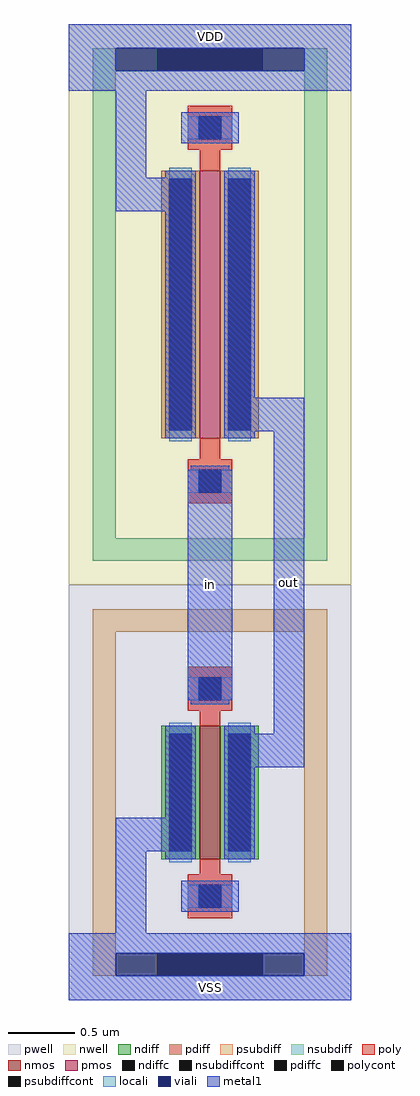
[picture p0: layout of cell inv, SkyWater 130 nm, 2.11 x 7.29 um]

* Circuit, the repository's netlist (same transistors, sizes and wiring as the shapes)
** sch_path: /home/bmott/standard_cell_library/xsch/ip/inv/inv.sch
.subckt inv in out VDD VSS
*.ipin in
*.opin out
*.iopin VDD
*.iopin VSS
XMN out in VSS VSS sky130_fd_pr__nfet_01v8 L=0.15 W=1 nf=1 ad=0.29 as=0.29 pd=2.58 ps=2.58 nrd=0.29 nrs=0.29 sa=0 sb=0 sd=0 mult=1
+ m=1
XMP out in VDD VDD sky130_fd_pr__pfet_01v8 L=0.15 W=2 nf=1 ad=0.58 as=0.58 pd=4.58 ps=4.58 nrd=0.145 nrs=0.145 sa=0 sb=0 sd=0
+ mult=1 m=1
**.ends
.end

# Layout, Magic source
magic
tech sky130A
magscale 1 2
<< viali >>
rect -290 1246 -8 1280
rect -290 -106 -8 -72
<< metal1 >>
rect -360 1280 62 1316
rect -360 1246 -290 1280
rect -8 1246 62 1280
rect -360 1216 62 1246
rect -290 1086 -244 1216
rect -192 1138 -106 1184
rect -290 1036 -176 1086
rect -210 708 -176 1036
rect -122 758 -88 1086
rect -122 708 -8 758
rect -182 306 -116 650
rect -54 256 -8 708
rect -210 130 -176 256
rect -290 80 -176 130
rect -122 206 -8 256
rect -122 80 -88 206
rect -290 -42 -244 80
rect -192 -10 -106 36
rect -360 -72 62 -42
rect -360 -106 -290 -72
rect -8 -106 62 -72
rect -360 -142 62 -106
use sky130_fd_pr__nfet_01v8_E5WSWT  XMN
transform 1 0 -149 0 1 168
box -211 -310 211 310
use sky130_fd_pr__pfet_01v8_ELW5X2  XMP
transform 1 0 -149 0 1 897
box -211 -419 211 419
<< labels >>
rlabel metal1 -182 306 -116 650 1 in
port 0 n
rlabel metal1 -54 206 -8 758 1 out
port 1 n
rlabel metal1 -360 1280 62 1316 1 VDD
port 2 n
rlabel metal1 -360 -142 62 -106 1 VSS
port 3 n
<< end >>

# cell sky130_fd_pr__nfet_01v8_E5WSWT: kit device sky130_fd_pr__nfet_01v8, w 1.0 l 0.15 m 1 nf 1 diffcov 100 polycov 100 guard 1 glc 0 grc 0 gtc 0 gbc 1 tbcov 100 rlcov 100 topc 1 botc 1 poverlap 0 doverlap 1 lmin 0.15 wmin 0.42 class mosfet compatible {sky130_fd_pr__nfet_01v8 sky130_fd_pr__nfet_01v8_lvt sky130_fd_bs_flash__special_sonosfet_star sky130_fd_pr__nfet_g5v0d10v5 sky130_fd_pr__nfet_05v0_nvt sky130_fd_pr__nfet_03v3_nvt} full_metal 0 conn_gates 0 viasrc 100 viadrn 100 viagate 100 viagb 100 viagr 0 viagl 0 viagt 0 doports 1

# cell sky130_fd_pr__pfet_01v8_ELW5X2: kit device sky130_fd_pr__pfet_01v8, w 2.0 l 0.15 m 1 nf 1 diffcov 100 polycov 100 guard 1 glc 0 grc 0 gtc 1 gbc 0 tbcov 100 rlcov 100 topc 1 botc 1 poverlap 0 doverlap 1 lmin 0.15 wmin 0.42 class mosfet compatible {sky130_fd_pr__pfet_01v8 sky130_fd_pr__pfet_01v8_lvt sky130_fd_pr__pfet_01v8_hvt sky130_fd_pr__pfet_g5v0d10v5} full_metal 0 conn_gates 0 viasrc 100 viadrn 100 viagate 100 viagb 0 viagr 0 viagl 0 viagt 100 doports 1
